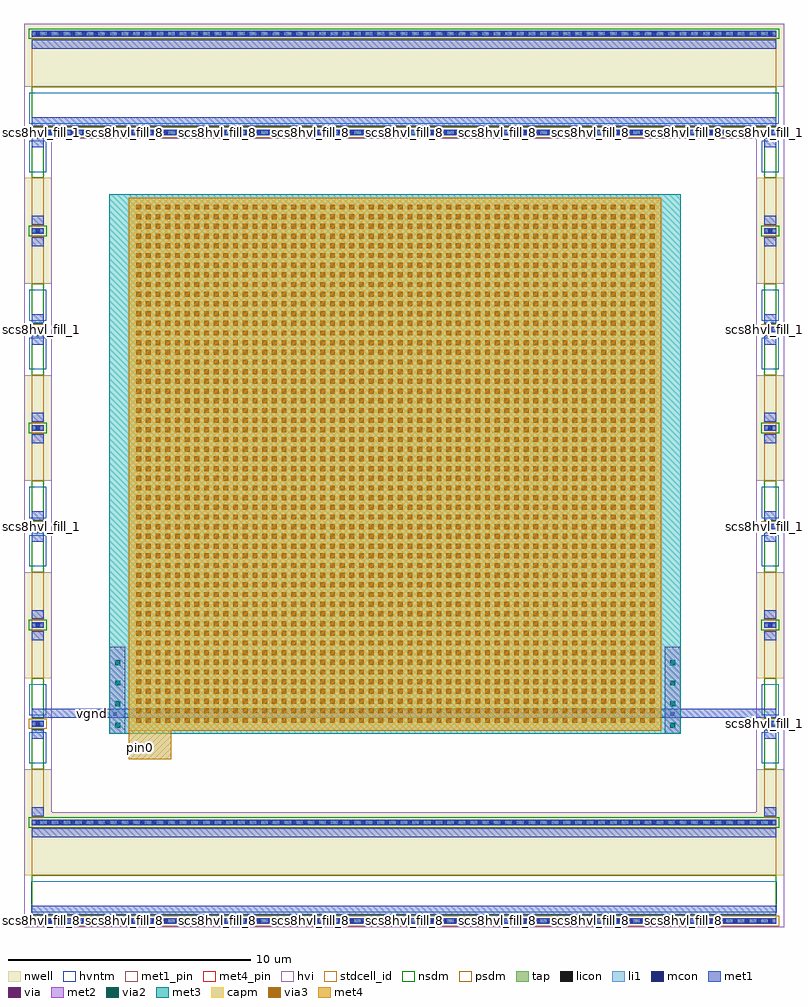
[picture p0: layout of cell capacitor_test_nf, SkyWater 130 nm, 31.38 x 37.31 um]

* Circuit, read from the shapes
.subckt capacitor_test_nf pin0 vgnd
XC1 pin0 vgnd sky130_fd_pr__cap_mim_m3_1 w=22 l=22
.ends

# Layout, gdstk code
import gdstk
lib = gdstk.Library(unit=1e-6, precision=1e-09)
def R(c, l, rs):  # rectangles x0, y0, x1, y1
    for r in rs: c.add(gdstk.rectangle(r[:2], r[2:], *l))
def A(c, l, x, y, w, h, nx, ny, dx, dy):  # array of equal rectangles
    R(c, l, [(x+i*dx, y+j*dy, x+i*dx+w, y+j*dy+h) for i in range(nx) for j in range(ny)])
nwell = (64, 20)
tap = (65, 44)
licon = (66, 44)
li1 = (67, 20)
mcon = (67, 44)
met1_pin = (68, 16)
met1 = (68, 20)
via = (68, 44)
met2 = (69, 20)
via2 = (69, 44)
met3 = (70, 20)
via3 = (70, 44)
met4_pin = (71, 16)
met4 = (71, 20)
hvi = (75, 20)
stdcell_id = (81, 4)
capm = (89, 44)
nsdm = (93, 44)
psdm = (94, 20)
hvntm = (125, 20)

capmm4_cdns_624820626542 = lib.new_cell('CAPMM4_CDNS_624820626542')
A(capmm4_cdns_624820626542, via3, 0.14, 0.14, 0.2, 0.2, 54, 54, 0.4, 0.4)
R(capmm4_cdns_624820626542, met4, [(0.08,0.08,21.6,21.6)])
R(capmm4_cdns_624820626542, capm, [(0,0,21.68,21.68)])

mimcap34_cdns_6248206265 = lib.new_cell('mimCap34_CDNS_624820626541')
R(mimcap34_cdns_6248206265, met3, [(-0.14,-0.14,22.14,22.14)])
R(mimcap34_cdns_6248206265, met4, [(0,0,22,22)])
R(mimcap34_cdns_6248206265, capm, [(0,0,22,22)])
mimcap34_cdns_6248206265.add(gdstk.Reference(capmm4_cdns_624820626542, (0.175,0.175)))

cmimc_cdns_624820626540 = lib.new_cell('cmimc_CDNS_624820626540')
cmimc_cdns_624820626540.add(gdstk.Reference(mimcap34_cdns_6248206265, (0,0)))

capacitor_test_nf = lib.new_cell('capacitor_test_nf')
A(capacitor_test_nf, nwell, -0.33, 1.885, 4.5, 2.6, 8, 2, 3.84, 32.56)
R(capacitor_test_nf, nwell, [(-0.33,3.655,0.81,6.255), (29.91,3.655,31.05,6.255), (-0.33,10.025,0.81,12.625), (29.91,10.025,31.05,12.625), (-0.33,11.795,0.81,14.395), (29.91,11.795,31.05,14.395), (-0.33,18.165,0.81,20.765), (29.91,18.165,31.05,20.765), (-0.33,19.935,0.81,22.535), (29.91,19.935,31.05,22.535), (-0.33,26.305,0.81,28.905), (29.91,26.305,31.05,28.905), (-0.33,28.075,0.81,30.675), (29.91,28.075,31.05,30.675), (-0.33,34.445,0.81,37.045), (29.91,34.445,31.05,37.045)])
A(capacitor_test_nf, tap, 0, -0.085, 3.84, 0.17, 8, 2, 3.84, 4.07)
A(capacitor_test_nf, tap, 0, 32.475, 3.84, 0.17, 8, 2, 3.84, 4.07)
R(capacitor_test_nf, tap, [(0,3.985,0.48,4.155), (30.24,3.985,30.72,4.155), (0,8.055,0.48,8.225), (0,8.055,0.48,8.225), (30.24,8.055,30.72,8.225), (30.24,8.055,30.72,8.225), (0,12.125,0.48,12.295), (0,12.125,0.48,12.295), (30.24,12.125,30.72,12.295), (30.24,12.125,30.72,12.295), (0,16.195,0.48,16.365), (0,16.195,0.48,16.365), (30.24,16.195,30.72,16.365), (30.24,16.195,30.72,16.365), (0,20.265,0.48,20.435), (0,20.265,0.48,20.435), (30.24,20.265,30.72,20.435), (30.24,20.265,30.72,20.435), (0,24.335,0.48,24.505), (0,24.335,0.48,24.505), (30.24,24.335,30.72,24.505), (30.24,24.335,30.72,24.505), (0,28.405,0.48,28.575), (0,28.405,0.48,28.575), (30.24,28.405,30.72,28.575), (30.24,28.405,30.72,28.575), (0,32.475,0.48,32.645), (0,32.475,0.48,32.645), (30.24,32.475,30.72,32.645), (30.24,32.475,30.72,32.645), (0,36.545,0.48,36.715), (30.24,36.545,30.72,36.715)])
A(capacitor_test_nf, licon, 0.155, -0.085, 0.17, 0.17, 64, 2, 0.48, 4.07)
A(capacitor_test_nf, licon, 0.155, 32.475, 0.17, 0.17, 64, 2, 0.48, 4.07)
R(capacitor_test_nf, licon, [(0.155,3.985,0.325,4.155), (30.395,3.985,30.565,4.155), (0.155,8.055,0.325,8.225), (0.155,8.055,0.325,8.225), (30.395,8.055,30.565,8.225), (30.395,8.055,30.565,8.225), (0.155,12.125,0.325,12.295), (0.155,12.125,0.325,12.295), (30.395,12.125,30.565,12.295), (30.395,12.125,30.565,12.295), (0.155,16.195,0.325,16.365), (0.155,16.195,0.325,16.365), (30.395,16.195,30.565,16.365), (30.395,16.195,30.565,16.365), (0.155,20.265,0.325,20.435), (0.155,20.265,0.325,20.435), (30.395,20.265,30.565,20.435), (30.395,20.265,30.565,20.435), (0.155,24.335,0.325,24.505), (0.155,24.335,0.325,24.505), (30.395,24.335,30.565,24.505), (30.395,24.335,30.565,24.505), (0.155,28.405,0.325,28.575), (0.155,28.405,0.325,28.575), (30.395,28.405,30.565,28.575), (30.395,28.405,30.565,28.575), (0.155,32.475,0.325,32.645), (0.155,32.475,0.325,32.645), (30.395,32.475,30.565,32.645), (30.395,32.475,30.565,32.645), (0.155,36.545,0.325,36.715), (30.395,36.545,30.565,36.715)])
A(capacitor_test_nf, li1, 0, -0.085, 3.84, 0.17, 8, 2, 3.84, 4.07)
A(capacitor_test_nf, li1, 0, 32.475, 3.84, 0.17, 8, 2, 3.84, 4.07)
R(capacitor_test_nf, li1, [(0,3.985,0.48,4.155), (30.24,3.985,30.72,4.155), (0,8.055,0.48,8.225), (0,8.055,0.48,8.225), (30.24,8.055,30.72,8.225), (30.24,8.055,30.72,8.225), (0,12.125,0.48,12.295), (0,12.125,0.48,12.295), (30.24,12.125,30.72,12.295), (30.24,12.125,30.72,12.295), (0,16.195,0.48,16.365), (0,16.195,0.48,16.365), (30.24,16.195,30.72,16.365), (30.24,16.195,30.72,16.365), (0,20.265,0.48,20.435), (0,20.265,0.48,20.435), (30.24,20.265,30.72,20.435), (30.24,20.265,30.72,20.435), (0,24.335,0.48,24.505), (0,24.335,0.48,24.505), (30.24,24.335,30.72,24.505), (30.24,24.335,30.72,24.505), (0,28.405,0.48,28.575), (0,28.405,0.48,28.575), (30.24,28.405,30.72,28.575), (30.24,28.405,30.72,28.575), (0,32.475,0.48,32.645), (0,32.475,0.48,32.645), (30.24,32.475,30.72,32.645), (30.24,32.475,30.72,32.645), (0,36.545,0.48,36.715), (30.24,36.545,30.72,36.715)])
R(capacitor_test_nf, mcon, [(0.155,-0.085,0.325,0.085), (0.155,-0.085,0.325,0.085), (0.635,-0.085,0.805,0.085), (0.635,-0.085,0.805,0.085), (1.115,-0.085,1.285,0.085), (1.115,-0.085,1.285,0.085), (1.595,-0.085,1.765,0.085), (1.595,-0.085,1.765,0.085), (2.075,-0.085,2.245,0.085), (2.075,-0.085,2.245,0.085), (2.555,-0.085,2.725,0.085), (2.555,-0.085,2.725,0.085), (3.035,-0.085,3.205,0.085), (3.035,-0.085,3.205,0.085), (3.515,-0.085,3.685,0.085), (3.515,-0.085,3.685,0.085), (3.995,-0.085,4.165,0.085), (3.995,-0.085,4.165,0.085), (4.475,-0.085,4.645,0.085), (4.475,-0.085,4.645,0.085), (4.955,-0.085,5.125,0.085), (4.955,-0.085,5.125,0.085), (5.435,-0.085,5.605,0.085), (5.435,-0.085,5.605,0.085), (5.915,-0.085,6.085,0.085), (5.915,-0.085,6.085,0.085), (6.395,-0.085,6.565,0.085), (6.395,-0.085,6.565,0.085), (6.875,-0.085,7.045,0.085), (6.875,-0.085,7.045,0.085), (7.355,-0.085,7.525,0.085), (7.355,-0.085,7.525,0.085), (7.835,-0.085,8.005,0.085), (7.835,-0.085,8.005,0.085), (8.315,-0.085,8.485,0.085), (8.315,-0.085,8.485,0.085), (8.795,-0.085,8.965,0.085), (8.795,-0.085,8.965,0.085), (9.275,-0.085,9.445,0.085), (9.275,-0.085,9.445,0.085), (9.755,-0.085,9.925,0.085), (9.755,-0.085,9.925,0.085), (10.235,-0.085,10.405,0.085), (10.235,-0.085,10.405,0.085), (10.715,-0.085,10.885,0.085), (10.715,-0.085,10.885,0.085), (11.195,-0.085,11.365,0.085), (11.195,-0.085,11.365,0.085), (11.675,-0.085,11.845,0.085), (11.675,-0.085,11.845,0.085), (12.155,-0.085,12.325,0.085), (12.155,-0.085,12.325,0.085), (12.635,-0.085,12.805,0.085), (12.635,-0.085,12.805,0.085), (13.115,-0.085,13.285,0.085), (13.115,-0.085,13.285,0.085), (13.595,-0.085,13.765,0.085), (13.595,-0.085,13.765,0.085), (14.075,-0.085,14.245,0.085), (14.075,-0.085,14.245,0.085), (14.555,-0.085,14.725,0.085), (14.555,-0.085,14.725,0.085), (15.035,-0.085,15.205,0.085), (15.035,-0.085,15.205,0.085), (15.515,-0.085,15.685,0.085), (15.515,-0.085,15.685,0.085), (15.995,-0.085,16.165,0.085), (15.995,-0.085,16.165,0.085), (16.475,-0.085,16.645,0.085), (16.475,-0.085,16.645,0.085), (16.955,-0.085,17.125,0.085), (16.955,-0.085,17.125,0.085), (17.435,-0.085,17.605,0.085), (17.435,-0.085,17.605,0.085), (17.915,-0.085,18.085,0.085), (17.915,-0.085,18.085,0.085), (18.395,-0.085,18.565,0.085), (18.395,-0.085,18.565,0.085), (18.875,-0.085,19.045,0.085), (18.875,-0.085,19.045,0.085), (19.355,-0.085,19.525,0.085), (19.355,-0.085,19.525,0.085), (19.835,-0.085,20.005,0.085), (19.835,-0.085,20.005,0.085), (20.315,-0.085,20.485,0.085), (20.315,-0.085,20.485,0.085), (20.795,-0.085,20.965,0.085), (20.795,-0.085,20.965,0.085), (21.275,-0.085,21.445,0.085), (21.275,-0.085,21.445,0.085), (21.755,-0.085,21.925,0.085), (21.755,-0.085,21.925,0.085), (22.235,-0.085,22.405,0.085), (22.235,-0.085,22.405,0.085), (22.715,-0.085,22.885,0.085), (22.715,-0.085,22.885,0.085), (23.195,-0.085,23.365,0.085), (23.195,-0.085,23.365,0.085), (23.675,-0.085,23.845,0.085), (23.675,-0.085,23.845,0.085), (24.155,-0.085,24.325,0.085), (24.155,-0.085,24.325,0.085), (24.635,-0.085,24.805,0.085), (24.635,-0.085,24.805,0.085), (25.115,-0.085,25.285,0.085), (25.115,-0.085,25.285,0.085), (25.595,-0.085,25.765,0.085), (25.595,-0.085,25.765,0.085), (26.075,-0.085,26.245,0.085), (26.075,-0.085,26.245,0.085), (26.555,-0.085,26.725,0.085), (26.555,-0.085,26.725,0.085), (27.035,-0.085,27.205,0.085), (27.035,-0.085,27.205,0.085), (27.515,-0.085,27.685,0.085), (27.515,-0.085,27.685,0.085), (27.995,-0.085,28.165,0.085), (27.995,-0.085,28.165,0.085), (28.475,-0.085,28.645,0.085), (28.475,-0.085,28.645,0.085), (28.955,-0.085,29.125,0.085), (28.955,-0.085,29.125,0.085), (29.435,-0.085,29.605,0.085), (29.435,-0.085,29.605,0.085), (29.915,-0.085,30.085,0.085), (29.915,-0.085,30.085,0.085), (30.395,-0.085,30.565,0.085), (30.395,-0.085,30.565,0.085), (0.155,3.985,0.325,4.155), (0.155,3.985,0.325,4.155), (0.155,3.985,0.325,4.155), (0.155,3.985,0.325,4.155), (0.635,3.985,0.805,4.155), (0.635,3.985,0.805,4.155), (1.115,3.985,1.285,4.155), (1.115,3.985,1.285,4.155), (1.595,3.985,1.765,4.155), (1.595,3.985,1.765,4.155), (2.075,3.985,2.245,4.155), (2.075,3.985,2.245,4.155), (2.555,3.985,2.725,4.155), (2.555,3.985,2.725,4.155), (3.035,3.985,3.205,4.155), (3.035,3.985,3.205,4.155), (3.515,3.985,3.685,4.155), (3.515,3.985,3.685,4.155), (3.995,3.985,4.165,4.155), (3.995,3.985,4.165,4.155), (4.475,3.985,4.645,4.155), (4.475,3.985,4.645,4.155), (4.955,3.985,5.125,4.155), (4.955,3.985,5.125,4.155), (5.435,3.985,5.605,4.155), (5.435,3.985,5.605,4.155), (5.915,3.985,6.085,4.155), (5.915,3.985,6.085,4.155), (6.395,3.985,6.565,4.155), (6.395,3.985,6.565,4.155), (6.875,3.985,7.045,4.155), (6.875,3.985,7.045,4.155), (7.355,3.985,7.525,4.155), (7.355,3.985,7.525,4.155), (7.835,3.985,8.005,4.155), (7.835,3.985,8.005,4.155), (8.315,3.985,8.485,4.155), (8.315,3.985,8.485,4.155), (8.795,3.985,8.965,4.155), (8.795,3.985,8.965,4.155), (9.275,3.985,9.445,4.155), (9.275,3.985,9.445,4.155), (9.755,3.985,9.925,4.155), (9.755,3.985,9.925,4.155), (10.235,3.985,10.405,4.155), (10.235,3.985,10.405,4.155), (10.715,3.985,10.885,4.155), (10.715,3.985,10.885,4.155), (11.195,3.985,11.365,4.155), (11.195,3.985,11.365,4.155), (11.675,3.985,11.845,4.155), (11.675,3.985,11.845,4.155), (12.155,3.985,12.325,4.155), (12.155,3.985,12.325,4.155), (12.635,3.985,12.805,4.155), (12.635,3.985,12.805,4.155), (13.115,3.985,13.285,4.155), (13.115,3.985,13.285,4.155), (13.595,3.985,13.765,4.155), (13.595,3.985,13.765,4.155), (14.075,3.985,14.245,4.155), (14.075,3.985,14.245,4.155), (14.555,3.985,14.725,4.155), (14.555,3.985,14.725,4.155), (15.035,3.985,15.205,4.155), (15.035,3.985,15.205,4.155), (15.515,3.985,15.685,4.155), (15.515,3.985,15.685,4.155), (15.995,3.985,16.165,4.155), (15.995,3.985,16.165,4.155), (16.475,3.985,16.645,4.155), (16.475,3.985,16.645,4.155), (16.955,3.985,17.125,4.155), (16.955,3.985,17.125,4.155), (17.435,3.985,17.605,4.155), (17.435,3.985,17.605,4.155), (17.915,3.985,18.085,4.155), (17.915,3.985,18.085,4.155), (18.395,3.985,18.565,4.155), (18.395,3.985,18.565,4.155), (18.875,3.985,19.045,4.155), (18.875,3.985,19.045,4.155), (19.355,3.985,19.525,4.155), (19.355,3.985,19.525,4.155), (19.835,3.985,20.005,4.155), (19.835,3.985,20.005,4.155), (20.315,3.985,20.485,4.155), (20.315,3.985,20.485,4.155), (20.795,3.985,20.965,4.155), (20.795,3.985,20.965,4.155), (21.275,3.985,21.445,4.155), (21.275,3.985,21.445,4.155), (21.755,3.985,21.925,4.155), (21.755,3.985,21.925,4.155), (22.235,3.985,22.405,4.155), (22.235,3.985,22.405,4.155), (22.715,3.985,22.885,4.155), (22.715,3.985,22.885,4.155), (23.195,3.985,23.365,4.155), (23.195,3.985,23.365,4.155), (23.675,3.985,23.845,4.155), (23.675,3.985,23.845,4.155), (24.155,3.985,24.325,4.155), (24.155,3.985,24.325,4.155), (24.635,3.985,24.805,4.155), (24.635,3.985,24.805,4.155), (25.115,3.985,25.285,4.155), (25.115,3.985,25.285,4.155), (25.595,3.985,25.765,4.155), (25.595,3.985,25.765,4.155), (26.075,3.985,26.245,4.155), (26.075,3.985,26.245,4.155), (26.555,3.985,26.725,4.155), (26.555,3.985,26.725,4.155), (27.035,3.985,27.205,4.155), (27.035,3.985,27.205,4.155), (27.515,3.985,27.685,4.155), (27.515,3.985,27.685,4.155), (27.995,3.985,28.165,4.155), (27.995,3.985,28.165,4.155), (28.475,3.985,28.645,4.155), (28.475,3.985,28.645,4.155), (28.955,3.985,29.125,4.155), (28.955,3.985,29.125,4.155), (29.435,3.985,29.605,4.155), (29.435,3.985,29.605,4.155), (29.915,3.985,30.085,4.155), (29.915,3.985,30.085,4.155), (30.395,3.985,30.565,4.155), (30.395,3.985,30.565,4.155), (30.395,3.985,30.565,4.155), (30.395,3.985,30.565,4.155), (0.155,8.055,0.325,8.225), (0.155,8.055,0.325,8.225), (0.155,8.055,0.325,8.225), (0.155,8.055,0.325,8.225), (30.395,8.055,30.565,8.225), (30.395,8.055,30.565,8.225), (30.395,8.055,30.565,8.225), (30.395,8.055,30.565,8.225), (0.155,12.125,0.325,12.295), (0.155,12.125,0.325,12.295), (0.155,12.125,0.325,12.295), (0.155,12.125,0.325,12.295), (30.395,12.125,30.565,12.295), (30.395,12.125,30.565,12.295), (30.395,12.125,30.565,12.295), (30.395,12.125,30.565,12.295), (0.155,16.195,0.325,16.365), (0.155,16.195,0.325,16.365), (0.155,16.195,0.325,16.365), (0.155,16.195,0.325,16.365), (30.395,16.195,30.565,16.365), (30.395,16.195,30.565,16.365), (30.395,16.195,30.565,16.365), (30.395,16.195,30.565,16.365), (0.155,20.265,0.325,20.435), (0.155,20.265,0.325,20.435), (0.155,20.265,0.325,20.435), (0.155,20.265,0.325,20.435), (30.395,20.265,30.565,20.435), (30.395,20.265,30.565,20.435), (30.395,20.265,30.565,20.435), (30.395,20.265,30.565,20.435), (0.155,24.335,0.325,24.505), (0.155,24.335,0.325,24.505), (0.155,24.335,0.325,24.505), (0.155,24.335,0.325,24.505), (30.395,24.335,30.565,24.505), (30.395,24.335,30.565,24.505), (30.395,24.335,30.565,24.505), (30.395,24.335,30.565,24.505), (0.155,28.405,0.325,28.575), (0.155,28.405,0.325,28.575), (0.155,28.405,0.325,28.575), (0.155,28.405,0.325,28.575), (30.395,28.405,30.565,28.575), (30.395,28.405,30.565,28.575), (30.395,28.405,30.565,28.575), (30.395,28.405,30.565,28.575), (0.155,32.475,0.325,32.645), (0.155,32.475,0.325,32.645), (0.155,32.475,0.325,32.645), (0.155,32.475,0.325,32.645), (0.155,32.475,0.325,32.645), (0.155,32.475,0.325,32.645), (0.635,32.475,0.805,32.645), (0.635,32.475,0.805,32.645), (1.115,32.475,1.285,32.645), (1.115,32.475,1.285,32.645), (1.595,32.475,1.765,32.645), (1.595,32.475,1.765,32.645), (2.075,32.475,2.245,32.645), (2.075,32.475,2.245,32.645), (2.555,32.475,2.725,32.645), (2.555,32.475,2.725,32.645), (3.035,32.475,3.205,32.645), (3.035,32.475,3.205,32.645), (3.515,32.475,3.685,32.645), (3.515,32.475,3.685,32.645), (3.995,32.475,4.165,32.645), (3.995,32.475,4.165,32.645), (4.475,32.475,4.645,32.645), (4.475,32.475,4.645,32.645), (4.955,32.475,5.125,32.645), (4.955,32.475,5.125,32.645), (5.435,32.475,5.605,32.645), (5.435,32.475,5.605,32.645), (5.915,32.475,6.085,32.645), (5.915,32.475,6.085,32.645), (6.395,32.475,6.565,32.645), (6.395,32.475,6.565,32.645), (6.875,32.475,7.045,32.645), (6.875,32.475,7.045,32.645), (7.355,32.475,7.525,32.645), (7.355,32.475,7.525,32.645), (7.835,32.475,8.005,32.645), (7.835,32.475,8.005,32.645), (8.315,32.475,8.485,32.645), (8.315,32.475,8.485,32.645), (8.795,32.475,8.965,32.645), (8.795,32.475,8.965,32.645), (9.275,32.475,9.445,32.645), (9.275,32.475,9.445,32.645), (9.755,32.475,9.925,32.645), (9.755,32.475,9.925,32.645), (10.235,32.475,10.405,32.645), (10.235,32.475,10.405,32.645), (10.715,32.475,10.885,32.645), (10.715,32.475,10.885,32.645), (11.195,32.475,11.365,32.645), (11.195,32.475,11.365,32.645), (11.675,32.475,11.845,32.645), (11.675,32.475,11.845,32.645), (12.155,32.475,12.325,32.645), (12.155,32.475,12.325,32.645), (12.635,32.475,12.805,32.645), (12.635,32.475,12.805,32.645), (13.115,32.475,13.285,32.645), (13.115,32.475,13.285,32.645), (13.595,32.475,13.765,32.645), (13.595,32.475,13.765,32.645), (14.075,32.475,14.245,32.645), (14.075,32.475,14.245,32.645), (14.555,32.475,14.725,32.645), (14.555,32.475,14.725,32.645), (15.035,32.475,15.205,32.645), (15.035,32.475,15.205,32.645), (15.515,32.475,15.685,32.645), (15.515,32.475,15.685,32.645), (15.995,32.475,16.165,32.645), (15.995,32.475,16.165,32.645), (16.475,32.475,16.645,32.645), (16.475,32.475,16.645,32.645), (16.955,32.475,17.125,32.645), (16.955,32.475,17.125,32.645), (17.435,32.475,17.605,32.645), (17.435,32.475,17.605,32.645), (17.915,32.475,18.085,32.645), (17.915,32.475,18.085,32.645), (18.395,32.475,18.565,32.645), (18.395,32.475,18.565,32.645), (18.875,32.475,19.045,32.645), (18.875,32.475,19.045,32.645), (19.355,32.475,19.525,32.645), (19.355,32.475,19.525,32.645), (19.835,32.475,20.005,32.645), (19.835,32.475,20.005,32.645), (20.315,32.475,20.485,32.645), (20.315,32.475,20.485,32.645), (20.795,32.475,20.965,32.645), (20.795,32.475,20.965,32.645), (21.275,32.475,21.445,32.645), (21.275,32.475,21.445,32.645), (21.755,32.475,21.925,32.645), (21.755,32.475,21.925,32.645), (22.235,32.475,22.405,32.645), (22.235,32.475,22.405,32.645), (22.715,32.475,22.885,32.645), (22.715,32.475,22.885,32.645), (23.195,32.475,23.365,32.645), (23.195,32.475,23.365,32.645), (23.675,32.475,23.845,32.645), (23.675,32.475,23.845,32.645), (24.155,32.475,24.325,32.645), (24.155,32.475,24.325,32.645), (24.635,32.475,24.805,32.645), (24.635,32.475,24.805,32.645), (25.115,32.475,25.285,32.645), (25.115,32.475,25.285,32.645), (25.595,32.475,25.765,32.645), (25.595,32.475,25.765,32.645), (26.075,32.475,26.245,32.645), (26.075,32.475,26.245,32.645), (26.555,32.475,26.725,32.645), (26.555,32.475,26.725,32.645), (27.035,32.475,27.205,32.645), (27.035,32.475,27.205,32.645), (27.515,32.475,27.685,32.645), (27.515,32.475,27.685,32.645), (27.995,32.475,28.165,32.645), (27.995,32.475,28.165,32.645), (28.475,32.475,28.645,32.645), (28.475,32.475,28.645,32.645), (28.955,32.475,29.125,32.645), (28.955,32.475,29.125,32.645), (29.435,32.475,29.605,32.645), (29.435,32.475,29.605,32.645), (29.915,32.475,30.085,32.645), (29.915,32.475,30.085,32.645), (30.395,32.475,30.565,32.645), (30.395,32.475,30.565,32.645), (30.395,32.475,30.565,32.645), (30.395,32.475,30.565,32.645), (30.395,32.475,30.565,32.645), (30.395,32.475,30.565,32.645), (0.155,36.545,0.325,36.715), (0.155,36.545,0.325,36.715), (0.155,36.545,0.325,36.715), (0.155,36.545,0.325,36.715), (0.635,36.545,0.805,36.715), (0.635,36.545,0.805,36.715), (1.115,36.545,1.285,36.715), (1.115,36.545,1.285,36.715), (1.595,36.545,1.765,36.715), (1.595,36.545,1.765,36.715), (2.075,36.545,2.245,36.715), (2.075,36.545,2.245,36.715), (2.555,36.545,2.725,36.715), (2.555,36.545,2.725,36.715), (3.035,36.545,3.205,36.715), (3.035,36.545,3.205,36.715), (3.515,36.545,3.685,36.715), (3.515,36.545,3.685,36.715), (3.995,36.545,4.165,36.715), (3.995,36.545,4.165,36.715), (4.475,36.545,4.645,36.715), (4.475,36.545,4.645,36.715), (4.955,36.545,5.125,36.715), (4.955,36.545,5.125,36.715), (5.435,36.545,5.605,36.715), (5.435,36.545,5.605,36.715), (5.915,36.545,6.085,36.715), (5.915,36.545,6.085,36.715), (6.395,36.545,6.565,36.715), (6.395,36.545,6.565,36.715), (6.875,36.545,7.045,36.715), (6.875,36.545,7.045,36.715), (7.355,36.545,7.525,36.715), (7.355,36.545,7.525,36.715), (7.835,36.545,8.005,36.715), (7.835,36.545,8.005,36.715), (8.315,36.545,8.485,36.715), (8.315,36.545,8.485,36.715), (8.795,36.545,8.965,36.715), (8.795,36.545,8.965,36.715), (9.275,36.545,9.445,36.715), (9.275,36.545,9.445,36.715), (9.755,36.545,9.925,36.715), (9.755,36.545,9.925,36.715), (10.235,36.545,10.405,36.715), (10.235,36.545,10.405,36.715), (10.715,36.545,10.885,36.715), (10.715,36.545,10.885,36.715), (11.195,36.545,11.365,36.715), (11.195,36.545,11.365,36.715), (11.675,36.545,11.845,36.715), (11.675,36.545,11.845,36.715), (12.155,36.545,12.325,36.715), (12.155,36.545,12.325,36.715), (12.635,36.545,12.805,36.715), (12.635,36.545,12.805,36.715), (13.115,36.545,13.285,36.715), (13.115,36.545,13.285,36.715), (13.595,36.545,13.765,36.715), (13.595,36.545,13.765,36.715), (14.075,36.545,14.245,36.715), (14.075,36.545,14.245,36.715), (14.555,36.545,14.725,36.715), (14.555,36.545,14.725,36.715), (15.035,36.545,15.205,36.715), (15.035,36.545,15.205,36.715), (15.515,36.545,15.685,36.715), (15.515,36.545,15.685,36.715), (15.995,36.545,16.165,36.715), (15.995,36.545,16.165,36.715), (16.475,36.545,16.645,36.715), (16.475,36.545,16.645,36.715), (16.955,36.545,17.125,36.715), (16.955,36.545,17.125,36.715), (17.435,36.545,17.605,36.715), (17.435,36.545,17.605,36.715), (17.915,36.545,18.085,36.715), (17.915,36.545,18.085,36.715), (18.395,36.545,18.565,36.715), (18.395,36.545,18.565,36.715), (18.875,36.545,19.045,36.715), (18.875,36.545,19.045,36.715), (19.355,36.545,19.525,36.715), (19.355,36.545,19.525,36.715), (19.835,36.545,20.005,36.715), (19.835,36.545,20.005,36.715), (20.315,36.545,20.485,36.715), (20.315,36.545,20.485,36.715), (20.795,36.545,20.965,36.715), (20.795,36.545,20.965,36.715), (21.275,36.545,21.445,36.715), (21.275,36.545,21.445,36.715), (21.755,36.545,21.925,36.715), (21.755,36.545,21.925,36.715), (22.235,36.545,22.405,36.715), (22.235,36.545,22.405,36.715), (22.715,36.545,22.885,36.715), (22.715,36.545,22.885,36.715), (23.195,36.545,23.365,36.715), (23.195,36.545,23.365,36.715), (23.675,36.545,23.845,36.715), (23.675,36.545,23.845,36.715), (24.155,36.545,24.325,36.715), (24.155,36.545,24.325,36.715), (24.635,36.545,24.805,36.715), (24.635,36.545,24.805,36.715), (25.115,36.545,25.285,36.715), (25.115,36.545,25.285,36.715), (25.595,36.545,25.765,36.715), (25.595,36.545,25.765,36.715), (26.075,36.545,26.245,36.715), (26.075,36.545,26.245,36.715), (26.555,36.545,26.725,36.715), (26.555,36.545,26.725,36.715), (27.035,36.545,27.205,36.715), (27.035,36.545,27.205,36.715), (27.515,36.545,27.685,36.715), (27.515,36.545,27.685,36.715), (27.995,36.545,28.165,36.715), (27.995,36.545,28.165,36.715), (28.475,36.545,28.645,36.715), (28.475,36.545,28.645,36.715), (28.955,36.545,29.125,36.715), (28.955,36.545,29.125,36.715), (29.435,36.545,29.605,36.715), (29.435,36.545,29.605,36.715), (29.915,36.545,30.085,36.715), (29.915,36.545,30.085,36.715), (30.395,36.545,30.565,36.715), (30.395,36.545,30.565,36.715), (30.395,36.545,30.565,36.715), (30.395,36.545,30.565,36.715)])
A(capacitor_test_nf, met1_pin, 0, 0.255, 3.84, 0.37, 8, 2, 3.84, 3.19)
A(capacitor_test_nf, met1_pin, 0, 32.815, 3.84, 0.37, 8, 2, 3.84, 3.19)
R(capacitor_test_nf, met1_pin, [(0,0,3.84,0.115), (0,0,3.84,0.115), (3.84,0,7.68,0.115), (3.84,0,7.68,0.115), (7.68,0,11.52,0.115), (7.68,0,11.52,0.115), (11.52,0,15.36,0.115), (11.52,0,15.36,0.115), (15.36,0,19.2,0.115), (15.36,0,19.2,0.115), (19.2,0,23.04,0.115), (19.2,0,23.04,0.115), (23.04,0,26.88,0.115), (23.04,0,26.88,0.115), (26.88,0,30.72,0.115), (26.88,0,30.72,0.115), (0,3.955,3.84,4.07), (0,3.955,3.84,4.07), (3.84,3.955,7.68,4.07), (3.84,3.955,7.68,4.07), (7.68,3.955,11.52,4.07), (7.68,3.955,11.52,4.07), (11.52,3.955,15.36,4.07), (11.52,3.955,15.36,4.07), (15.36,3.955,19.2,4.07), (15.36,3.955,19.2,4.07), (19.2,3.955,23.04,4.07), (19.2,3.955,23.04,4.07), (23.04,3.955,26.88,4.07), (23.04,3.955,26.88,4.07), (26.88,3.955,30.72,4.07), (26.88,3.955,30.72,4.07), (0,4.07,0.48,4.185), (0,4.07,0.48,4.185), (30.24,4.07,30.72,4.185), (30.24,4.07,30.72,4.185), (0,4.325,0.48,4.695), (30.24,4.325,30.72,4.695), (0,7.515,0.48,7.885), (30.24,7.515,30.72,7.885), (0,8.025,0.48,8.14), (0,8.025,0.48,8.14), (30.24,8.025,30.72,8.14), (30.24,8.025,30.72,8.14), (0,8.14,0.48,8.255), (0,8.14,0.48,8.255), (30.24,8.14,30.72,8.255), (30.24,8.14,30.72,8.255), (0,8.395,0.48,8.765), (0.475,8.395,30.24,8.765), (30.24,8.395,30.72,8.765), (0,11.585,0.48,11.955), (30.24,11.585,30.72,11.955), (0,12.095,0.48,12.21), (0,12.095,0.48,12.21), (30.24,12.095,30.72,12.21), (30.24,12.095,30.72,12.21), (0,12.21,0.48,12.325), (0,12.21,0.48,12.325), (30.24,12.21,30.72,12.325), (30.24,12.21,30.72,12.325), (0,12.465,0.48,12.835), (30.24,12.465,30.72,12.835), (0,15.655,0.48,16.025), (30.24,15.655,30.72,16.025), (0,16.165,0.48,16.28), (0,16.165,0.48,16.28), (30.24,16.165,30.72,16.28), (30.24,16.165,30.72,16.28), (0,16.28,0.48,16.395), (0,16.28,0.48,16.395), (30.24,16.28,30.72,16.395), (30.24,16.28,30.72,16.395), (0,16.535,0.48,16.905), (30.24,16.535,30.72,16.905), (0,19.725,0.48,20.095), (30.24,19.725,30.72,20.095), (0,20.235,0.48,20.35), (0,20.235,0.48,20.35), (30.24,20.235,30.72,20.35), (30.24,20.235,30.72,20.35), (0,20.35,0.48,20.465), (0,20.35,0.48,20.465), (30.24,20.35,30.72,20.465), (30.24,20.35,30.72,20.465), (0,20.605,0.48,20.975), (30.24,20.605,30.72,20.975), (0,23.795,0.48,24.165), (30.24,23.795,30.72,24.165), (0,24.305,0.48,24.42), (0,24.305,0.48,24.42), (30.24,24.305,30.72,24.42), (30.24,24.305,30.72,24.42), (0,24.42,0.48,24.535), (0,24.42,0.48,24.535), (30.24,24.42,30.72,24.535), (30.24,24.42,30.72,24.535), (0,24.675,0.48,25.045), (30.24,24.675,30.72,25.045), (0,27.865,0.48,28.235), (30.24,27.865,30.72,28.235), (0,28.375,0.48,28.49), (0,28.375,0.48,28.49), (30.24,28.375,30.72,28.49), (30.24,28.375,30.72,28.49), (0,28.49,0.48,28.605), (0,28.49,0.48,28.605), (30.24,28.49,30.72,28.605), (30.24,28.49,30.72,28.605), (0,28.745,0.48,29.115), (30.24,28.745,30.72,29.115), (0,31.935,0.48,32.305), (30.24,31.935,30.72,32.305), (0,32.445,0.48,32.56), (0,32.445,0.48,32.56), (30.24,32.445,30.72,32.56), (30.24,32.445,30.72,32.56), (0,32.56,0.48,32.675), (0,32.56,0.48,32.675), (0,32.56,3.84,32.675), (0,32.56,3.84,32.675), (3.84,32.56,7.68,32.675), (3.84,32.56,7.68,32.675), (7.68,32.56,11.52,32.675), (7.68,32.56,11.52,32.675), (11.52,32.56,15.36,32.675), (11.52,32.56,15.36,32.675), (15.36,32.56,19.2,32.675), (15.36,32.56,19.2,32.675), (19.2,32.56,23.04,32.675), (19.2,32.56,23.04,32.675), (23.04,32.56,26.88,32.675), (23.04,32.56,26.88,32.675), (26.88,32.56,30.72,32.675), (26.88,32.56,30.72,32.675), (30.24,32.56,30.72,32.675), (30.24,32.56,30.72,32.675), (0,32.815,0.48,33.185), (30.24,32.815,30.72,33.185), (0,36.005,0.48,36.375), (30.24,36.005,30.72,36.375), (0,36.515,0.48,36.63), (0,36.515,0.48,36.63), (0,36.515,3.84,36.63), (0,36.515,3.84,36.63), (3.84,36.515,7.68,36.63), (3.84,36.515,7.68,36.63), (7.68,36.515,11.52,36.63), (7.68,36.515,11.52,36.63), (11.52,36.515,15.36,36.63), (11.52,36.515,15.36,36.63), (15.36,36.515,19.2,36.63), (15.36,36.515,19.2,36.63), (19.2,36.515,23.04,36.63), (19.2,36.515,23.04,36.63), (23.04,36.515,26.88,36.63), (23.04,36.515,26.88,36.63), (26.88,36.515,30.72,36.63), (26.88,36.515,30.72,36.63), (30.24,36.515,30.72,36.63), (30.24,36.515,30.72,36.63)])
A(capacitor_test_nf, met1, 0, -0.115, 3.84, 0.23, 8, 2, 3.84, 4.07)
A(capacitor_test_nf, met1, 0, 0.255, 3.84, 0.37, 8, 2, 3.84, 3.19)
A(capacitor_test_nf, met1, 0, 32.445, 3.84, 0.23, 8, 2, 3.84, 4.07)
A(capacitor_test_nf, met1, 0, 32.815, 3.84, 0.37, 8, 2, 3.84, 3.19)
R(capacitor_test_nf, met1, [(0,3.955,0.48,4.185), (30.24,3.955,30.72,4.185), (0,4.325,0.48,4.695), (30.24,4.325,30.72,4.695), (0,7.515,0.48,7.885), (30.24,7.515,30.72,7.885), (0,8.025,0.48,8.255), (0,8.025,0.48,8.255), (30.24,8.025,30.72,8.255), (30.24,8.025,30.72,8.255), (0,8.395,0.48,8.765), (0.48,8.395,30.24,8.765), (30.24,8.395,30.72,8.765), (0,11.585,0.48,11.955), (30.24,11.585,30.72,11.955), (0,12.095,0.48,12.325), (0,12.095,0.48,12.325), (30.24,12.095,30.72,12.325), (30.24,12.095,30.72,12.325), (0,12.465,0.48,12.835), (30.24,12.465,30.72,12.835), (0,15.655,0.48,16.025), (30.24,15.655,30.72,16.025), (0,16.165,0.48,16.395), (0,16.165,0.48,16.395), (30.24,16.165,30.72,16.395), (30.24,16.165,30.72,16.395), (0,16.535,0.48,16.905), (30.24,16.535,30.72,16.905), (0,19.725,0.48,20.095), (30.24,19.725,30.72,20.095), (0,20.235,0.48,20.465), (0,20.235,0.48,20.465), (30.24,20.235,30.72,20.465), (30.24,20.235,30.72,20.465), (0,20.605,0.48,20.975), (30.24,20.605,30.72,20.975), (0,23.795,0.48,24.165), (30.24,23.795,30.72,24.165), (0,24.305,0.48,24.535), (0,24.305,0.48,24.535), (30.24,24.305,30.72,24.535), (30.24,24.305,30.72,24.535), (0,24.675,0.48,25.045), (30.24,24.675,30.72,25.045), (0,27.865,0.48,28.235), (30.24,27.865,30.72,28.235), (0,28.375,0.48,28.605), (0,28.375,0.48,28.605), (30.24,28.375,30.72,28.605), (30.24,28.375,30.72,28.605), (0,28.745,0.48,29.115), (30.24,28.745,30.72,29.115), (0,31.935,0.48,32.305), (30.24,31.935,30.72,32.305), (0,32.445,0.48,32.675), (0,32.445,0.48,32.675), (30.24,32.445,30.72,32.675), (30.24,32.445,30.72,32.675), (0,32.815,0.48,33.185), (30.24,32.815,30.72,33.185), (0,36.005,0.48,36.375), (30.24,36.005,30.72,36.375), (0,36.515,0.48,36.745), (30.24,36.515,30.72,36.745)])
R(capacitor_test_nf, via, [(3.355,8.475,3.505,8.625), (26.36,8.475,26.51,8.625)])
R(capacitor_test_nf, met2, [(3.2,7.72,3.85,11.315), (26.13,7.72,26.78,11.315)])
R(capacitor_test_nf, via2, [(3.435,7.985,3.635,8.185), (26.36,7.985,26.56,8.185), (3.435,8.87,3.635,9.07), (26.36,8.87,26.56,9.07), (3.435,9.725,3.635,9.925), (26.36,9.725,26.56,9.925), (3.435,10.555,3.635,10.755), (26.36,10.555,26.56,10.755)])
R(capacitor_test_nf, met3, [(3.2,7.72,3.85,30), (26.13,7.72,26.78,30)])
R(capacitor_test_nf, met4_pin, [(4.375,7.045,4.575,7.245)])
R(capacitor_test_nf, met4, [(3.99,6.67,5.75,7.86)])
A(capacitor_test_nf, hvi, -0.33, -0.265, 4.5, 4.75, 8, 2, 3.84, 32.56)
R(capacitor_test_nf, hvi, [(-0.33,3.655,0.81,8.405), (29.91,3.655,31.05,8.405), (-0.33,7.875,0.81,12.625), (29.91,7.875,31.05,12.625), (-0.33,11.795,0.81,16.545), (29.91,11.795,31.05,16.545), (-0.33,16.015,0.81,20.765), (29.91,16.015,31.05,20.765), (-0.33,19.935,0.81,24.685), (29.91,19.935,31.05,24.685), (-0.33,24.155,0.81,28.905), (29.91,24.155,31.05,28.905), (-0.33,28.075,0.81,32.825), (29.91,28.075,31.05,32.825), (-0.33,32.295,0.81,37.045), (29.91,32.295,31.05,37.045)])
A(capacitor_test_nf, stdcell_id, 0, 0, 3.84, 4.07, 8, 2, 3.84, 32.56)
A(capacitor_test_nf, stdcell_id, 0, 4.07, 0.48, 4.07, 1, 8, 0, 4.07)
A(capacitor_test_nf, stdcell_id, 30.24, 4.07, 0.48, 4.07, 1, 8, 0, 4.07)
R(capacitor_test_nf, stdcell_id, [(0,0,30.72,36.63)])
A(capacitor_test_nf, nsdm, 0, 0.215, 3.84, 1.67, 8, 2, 3.84, 32.56)
A(capacitor_test_nf, nsdm, -0.13, 3.855, 4.1, 0.43, 8, 2, 3.84, 32.56)
A(capacitor_test_nf, nsdm, 0, 3.855, 3.84, 0.215, 8, 2, 3.84, 32.56)
R(capacitor_test_nf, nsdm, [(-0.13,3.855,0.61,4.285), (30.11,3.855,30.85,4.285), (0,4.07,0.48,4.285), (30.24,4.07,30.72,4.285), (0,6.255,0.48,7.925), (30.24,6.255,30.72,7.925), (0,8.355,0.48,10.025), (30.24,8.355,30.72,10.025), (-0.13,11.995,0.61,12.425), (-0.13,11.995,0.61,12.425), (0,11.995,0.48,12.21), (30.11,11.995,30.85,12.425), (30.11,11.995,30.85,12.425), (30.24,11.995,30.72,12.21), (0,12.21,0.48,12.425), (30.24,12.21,30.72,12.425), (0,14.395,0.48,16.065), (30.24,14.395,30.72,16.065), (0,16.495,0.48,18.165), (30.24,16.495,30.72,18.165), (-0.13,20.135,0.61,20.565), (-0.13,20.135,0.61,20.565), (0,20.135,0.48,20.35), (30.11,20.135,30.85,20.565), (30.11,20.135,30.85,20.565), (30.24,20.135,30.72,20.35), (0,20.35,0.48,20.565), (30.24,20.35,30.72,20.565), (0,22.535,0.48,24.205), (30.24,22.535,30.72,24.205), (0,24.635,0.48,26.305), (30.24,24.635,30.72,26.305), (-0.13,28.275,0.61,28.705), (-0.13,28.275,0.61,28.705), (0,28.275,0.48,28.49), (30.11,28.275,30.85,28.705), (30.11,28.275,30.85,28.705), (30.24,28.275,30.72,28.49), (0,28.49,0.48,28.705), (30.24,28.49,30.72,28.705), (0,30.675,0.48,32.345), (30.24,30.675,30.72,32.345), (0,32.775,0.48,34.445), (30.24,32.775,30.72,34.445), (-0.13,36.415,0.61,36.845), (0,36.415,0.48,36.63), (30.11,36.415,30.85,36.845), (30.24,36.415,30.72,36.63)])
A(capacitor_test_nf, psdm, -0.13, -0.215, 4.1, 0.43, 8, 2, 3.84, 32.56)
A(capacitor_test_nf, psdm, 0, 1.885, 3.84, 1.97, 8, 2, 3.84, 32.56)
R(capacitor_test_nf, psdm, [(0,4.285,0.48,6.255), (30.24,4.285,30.72,6.255), (-0.13,7.925,0.61,8.355), (-0.13,7.925,0.61,8.355), (30.11,7.925,30.85,8.355), (30.11,7.925,30.85,8.355), (0,10.025,0.48,11.995), (30.24,10.025,30.72,11.995), (0,12.425,0.48,14.395), (30.24,12.425,30.72,14.395), (-0.13,16.065,0.61,16.495), (-0.13,16.065,0.61,16.495), (30.11,16.065,30.85,16.495), (30.11,16.065,30.85,16.495), (0,18.165,0.48,20.135), (30.24,18.165,30.72,20.135), (0,20.565,0.48,22.535), (30.24,20.565,30.72,22.535), (-0.13,24.205,0.61,24.635), (-0.13,24.205,0.61,24.635), (30.11,24.205,30.85,24.635), (30.11,24.205,30.85,24.635), (0,26.305,0.48,28.275), (30.24,26.305,30.72,28.275), (0,28.705,0.48,30.675), (30.24,28.705,30.72,30.675), (-0.13,32.345,0.61,32.775), (-0.13,32.345,0.61,32.775), (30.11,32.345,30.85,32.775), (30.11,32.345,30.85,32.775), (0,34.445,0.48,36.415), (30.24,34.445,30.72,36.415)])
A(capacitor_test_nf, hvntm, -0.035, 0.35, 3.91, 1.29, 8, 2, 3.84, 32.56)
R(capacitor_test_nf, hvntm, [(-0.11,6.5,0.59,7.79), (30.13,6.5,30.83,7.79), (-0.11,8.49,0.59,9.78), (30.13,8.49,30.83,9.78), (-0.11,14.64,0.59,15.93), (30.13,14.64,30.83,15.93), (-0.11,16.63,0.59,17.92), (30.13,16.63,30.83,17.92), (-0.11,22.78,0.59,24.07), (30.13,22.78,30.83,24.07), (-0.11,24.77,0.59,26.06), (30.13,24.77,30.83,26.06), (-0.11,30.92,0.59,32.21), (30.13,30.92,30.83,32.21), (-0.11,32.91,0.59,34.2), (30.13,32.91,30.83,34.2)])
capacitor_test_nf.add(gdstk.Reference(cmimc_cdns_624820626540, (3.99,7.86)))
capacitor_test_nf.add(gdstk.Label('pin0', (4.47,7.145), layer=71, texttype=5))
capacitor_test_nf.add(gdstk.Label('vgnd', (2.485,8.565), layer=68, texttype=5))
capacitor_test_nf.add(gdstk.Label('scs8hvl_fill_1', (0,32.56), layer=83, texttype=44))
capacitor_test_nf.add(gdstk.Label('scs8hvl_fill_1', (0,24.42), layer=83, texttype=44))
capacitor_test_nf.add(gdstk.Label('scs8hvl_fill_1', (0,24.42), layer=83, texttype=44))
capacitor_test_nf.add(gdstk.Label('scs8hvl_fill_1', (0,16.28), layer=83, texttype=44))
capacitor_test_nf.add(gdstk.Label('scs8hvl_fill_1', (0,16.28), layer=83, texttype=44))
capacitor_test_nf.add(gdstk.Label('scs8hvl_fill_1', (0,8.14), layer=83, texttype=44))
capacitor_test_nf.add(gdstk.Label('scs8hvl_fill_1', (0,8.14), layer=83, texttype=44))
capacitor_test_nf.add(gdstk.Label('scs8hvl_fill_1', (30.24,32.56), layer=83, texttype=44))
capacitor_test_nf.add(gdstk.Label('scs8hvl_fill_1', (30.24,24.42), layer=83, texttype=44))
capacitor_test_nf.add(gdstk.Label('scs8hvl_fill_1', (30.24,24.42), layer=83, texttype=44))
capacitor_test_nf.add(gdstk.Label('scs8hvl_fill_1', (30.24,16.28), layer=83, texttype=44))
capacitor_test_nf.add(gdstk.Label('scs8hvl_fill_1', (30.24,16.28), layer=83, texttype=44))
capacitor_test_nf.add(gdstk.Label('scs8hvl_fill_1', (30.24,8.14), layer=83, texttype=44))
capacitor_test_nf.add(gdstk.Label('scs8hvl_fill_1', (30.24,8.14), layer=83, texttype=44))
capacitor_test_nf.add(gdstk.Label('scs8hvl_fill_8', (26.88,0), layer=83, texttype=44))
capacitor_test_nf.add(gdstk.Label('scs8hvl_fill_8', (23.04,0), layer=83, texttype=44))
capacitor_test_nf.add(gdstk.Label('scs8hvl_fill_8', (19.2,0), layer=83, texttype=44))
capacitor_test_nf.add(gdstk.Label('scs8hvl_fill_8', (15.36,0), layer=83, texttype=44))
capacitor_test_nf.add(gdstk.Label('scs8hvl_fill_8', (11.52,0), layer=83, texttype=44))
capacitor_test_nf.add(gdstk.Label('scs8hvl_fill_8', (7.68,0), layer=83, texttype=44))
capacitor_test_nf.add(gdstk.Label('scs8hvl_fill_8', (3.84,0), layer=83, texttype=44))
capacitor_test_nf.add(gdstk.Label('scs8hvl_fill_8', (0,0), layer=83, texttype=44))
capacitor_test_nf.add(gdstk.Label('scs8hvl_fill_8', (26.88,32.56), layer=83, texttype=44))
capacitor_test_nf.add(gdstk.Label('scs8hvl_fill_8', (23.04,32.56), layer=83, texttype=44))
capacitor_test_nf.add(gdstk.Label('scs8hvl_fill_8', (19.2,32.56), layer=83, texttype=44))
capacitor_test_nf.add(gdstk.Label('scs8hvl_fill_8', (15.36,32.56), layer=83, texttype=44))
capacitor_test_nf.add(gdstk.Label('scs8hvl_fill_8', (11.52,32.56), layer=83, texttype=44))
capacitor_test_nf.add(gdstk.Label('scs8hvl_fill_8', (7.68,32.56), layer=83, texttype=44))
capacitor_test_nf.add(gdstk.Label('scs8hvl_fill_8', (3.84,32.56), layer=83, texttype=44))
capacitor_test_nf.add(gdstk.Label('scs8hvl_fill_8', (0,32.56), layer=83, texttype=44))
capacitor_test_nf.add(gdstk.Label('scs8hvl_fill_1', (0,32.56), layer=83, texttype=44))
capacitor_test_nf.add(gdstk.Label('scs8hvl_fill_1', (30.24,32.56), layer=83, texttype=44))

lib.write_gds('capacitor_test_nf.gds')
